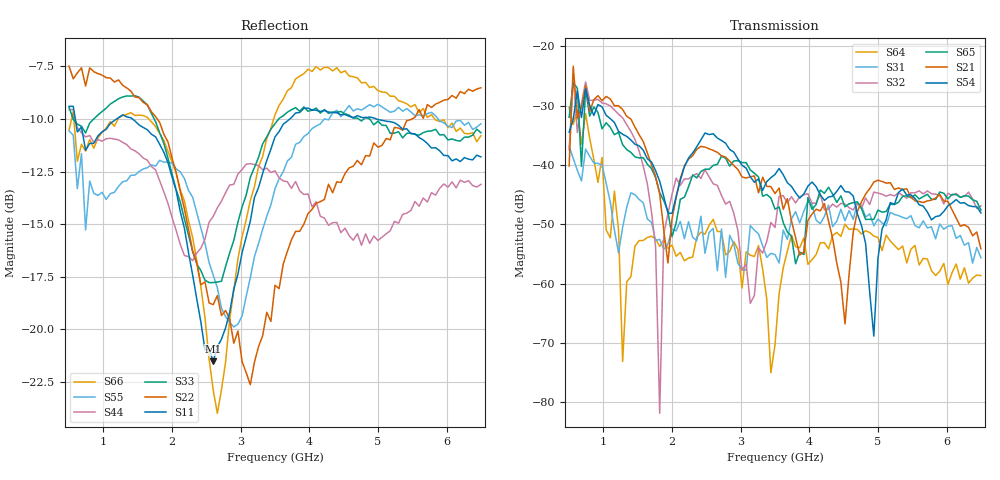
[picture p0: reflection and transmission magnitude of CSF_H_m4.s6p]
!Keysight Technologies,M9804A,MY58100912,A.14.10.03
!Date: Thursday, April 27, 2023 10:28:33
!Correction: S11(C  6-Port  )
!S12(C  6-Port  )
!S13(C  6-Port  )
!S14(C  6-Port  )
!S15(C  6-Port  )
!S16(C  6-Port  )
!S21(C  6-Port  )
!S22(C  6-Port  )
!S23(C  6-Port  )
!S24(C  6-Port  )
!S25(C  6-Port  )
!S26(C  6-Port  )
!S31(C  6-Port  )
!S32(C  6-Port  )
!S33(C  6-Port  )
!S34(C  6-Port  )
!S35(C  6-Port  )
!S36(C  6-Port  )
!S41(C  6-Port  )
!S42(C  6-Port  )
!S43(C  6-Port  )
!S44(C  6-Port  )
!S45(C  6-Port  )
!S46(C  6-Port  )
!S51(C  6-Port  )
!S52(C  6-Port  )
!S53(C  6-Port  )
!S54(C  6-Port  )
!S55(C  6-Port  )
!S56(C  6-Port  )
!S61(C  6-Port  )
!S62(C  6-Port  )
!S63(C  6-Port  )
!S64(C  6-Port  )
!S65(C  6-Port  )
!S66(C  6-Port  )
!S6P File: Measurement: :
# Hz S  RI  R 50
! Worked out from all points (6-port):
!   101 points, 500 MHz to 6.5 GHz, reference 50 ohm
!   strongest paths, dB at 500 MHz, 2 GHz, 3.5 GHz, 5 GHz, 6.5 GHz:
!     S54: -34.5, -48.2, -41.6, -55.8, -48.1
!     S21: -40.2, -49.1, -44.8, -42.6, -54.1
!     S65: -32.0, -52.1, -47.5, -47.6, -47.6
!     S32: -37.5, -44.9, -50.5, -44.7, -46.9
!     S31: -36.8, -50.8, -55.1, -49.1, -55.6
!     S64: -30.4, -53.5, -70.3, -52.2, -58.7
!   lowest |S11| = -21.5 dB at 2.6 GHz (marker M1), VSWR 1.18, Z = 42.5 + j2.19 ohm
!   |S11| at or under -10 dB: 589.6 MHz to 1.192 GHz (602 MHz wide, 67.6 % of centre); 1.422 GHz to 3.716 GHz (2.294 GHz wide, 89.3 % of centre); 4.978 GHz to end of sweep
